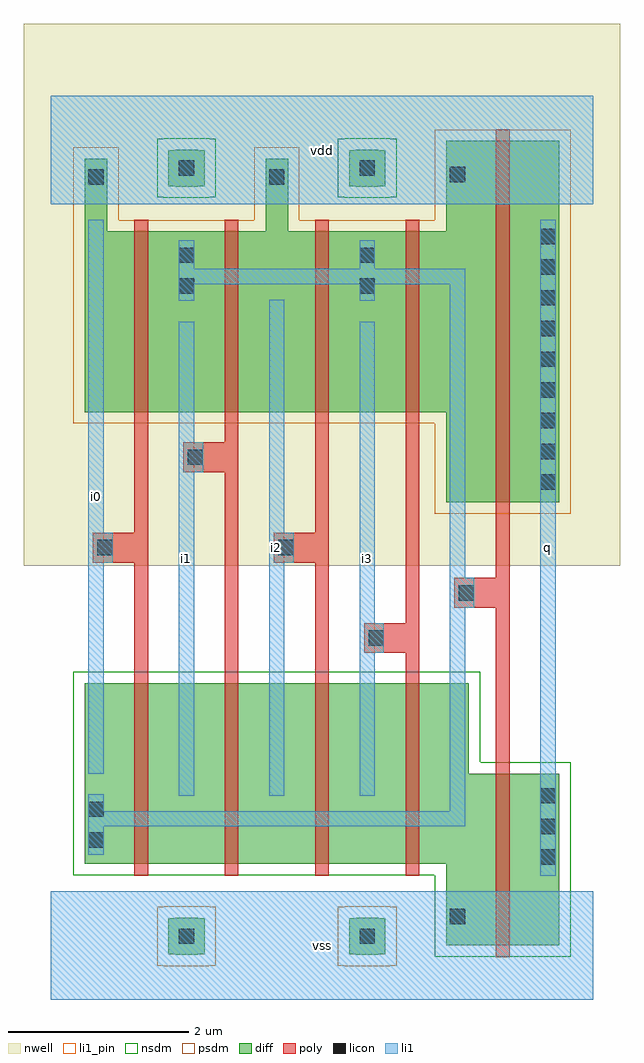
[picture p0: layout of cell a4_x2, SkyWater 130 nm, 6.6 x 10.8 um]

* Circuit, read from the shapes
.subckt a4_x2 i0 i1 i2 i3 q vdd vss
XM1 n1 i0 n2 VSUBS sky130_fd_pr__nfet_01v8 w=2 l=0.15
XM2 n3 i1 n1 VSUBS sky130_fd_pr__nfet_01v8 w=2 l=0.15
XM3 n4 i2 n3 VSUBS sky130_fd_pr__nfet_01v8 w=2 l=0.15
XM4 vss i3 n4 VSUBS sky130_fd_pr__nfet_01v8 w=2 l=0.15
XM5 q n2 vss VSUBS sky130_fd_pr__nfet_01v8 w=1.9 l=0.15
XM6 n2 i0 vdd n5 sky130_fd_pr__pfet_01v8 w=2 l=0.15
XM7 vdd i1 n2 n5 sky130_fd_pr__pfet_01v8 w=2 l=0.15
XM8 n2 i2 vdd n5 sky130_fd_pr__pfet_01v8 w=2 l=0.15
XM9 vdd i3 n2 n5 sky130_fd_pr__pfet_01v8 w=2 l=0.15
XM10 q n2 vdd n5 sky130_fd_pr__pfet_01v8 w=4 l=0.15
.ends

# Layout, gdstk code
import gdstk
lib = gdstk.Library(unit=1e-6, precision=1e-09)
def R(c, l, rs):  # rectangles x0, y0, x1, y1
    for r in rs: c.add(gdstk.rectangle(r[:2], r[2:], *l))
def A(c, l, x, y, w, h, nx, ny, dx, dy):  # array of equal rectangles
    R(c, l, [(x+i*dx, y+j*dy, x+i*dx+w, y+j*dy+h) for i in range(nx) for j in range(ny)])
def P(c, l, *ps):  # polygons
    for p in ps: c.add(gdstk.Polygon(p, *l))
nwell = (64, 20)
diff = (65, 20)
poly = (66, 20)
licon = (66, 44)
li1_pin = (67, 16)
li1 = (67, 20)
nsdm = (93, 44)
psdm = (94, 20)

a4_x2 = lib.new_cell('a4_x2')
R(a4_x2, nwell, [(-0.3,4.8,6.3,10.8)])
P(a4_x2, diff, [(1.375,0.495),(1.375,0.5),(1.3,0.5),(1.3,0.9),(1.375,0.9),(1.375,0.905),(1.625,0.905),(1.625,0.9),(1.7,0.9),(1.7,0.5),(1.625,0.5),(1.625,0.495)],
  [(3.375,0.495),(3.375,0.5),(3.3,0.5),(3.3,0.9),(3.375,0.9),(3.375,0.905),(3.625,0.905),(3.625,0.9),(3.7,0.9),(3.7,0.5),(3.625,0.5),(3.625,0.495)],
  [(4.375,0.6),(4.375,1.5),(0.375,1.5),(0.375,3.5),(4.625,3.5),(4.625,2.5),(5.625,2.5),(5.625,0.6)],
  [(1.375,8.995),(1.375,9),(1.3,9),(1.3,9.4),(1.375,9.4),(1.375,9.405),(1.625,9.405),(1.625,9.4),(1.7,9.4),(1.7,9),(1.625,9),(1.625,8.995)],
  [(3.375,8.995),(3.375,9),(3.3,9),(3.3,9.4),(3.375,9.4),(3.375,9.405),(3.625,9.405),(3.625,9.4),(3.7,9.4),(3.7,9),(3.625,9),(3.625,8.995)],
  [(4.375,5.5),(4.375,6.5),(0.375,6.5),(0.375,9.305),(0.625,9.305),(0.625,8.5),(2.375,8.5),(2.375,9.305),(2.625,9.305),(2.625,8.5),(4.375,8.5),(4.375,9.5),(5.625,9.5),(5.625,5.5)])
P(a4_x2, poly, [(0.925,1.37),(0.925,4.835),(0.465,4.835),(0.465,5.165),(0.925,5.165),(0.925,8.63),(1.075,8.63),(1.075,1.37)],
  [(1.925,1.37),(1.925,5.835),(1.465,5.835),(1.465,6.165),(1.925,6.165),(1.925,8.63),(2.075,8.63),(2.075,1.37)],
  [(2.925,1.37),(2.925,4.835),(2.465,4.835),(2.465,5.165),(2.925,5.165),(2.925,8.63),(3.075,8.63),(3.075,1.37)],
  [(3.925,1.37),(3.925,3.835),(3.465,3.835),(3.465,4.165),(3.925,4.165),(3.925,8.63),(4.075,8.63),(4.075,1.37)],
  [(4.925,0.47),(4.925,4.335),(4.465,4.335),(4.465,4.665),(4.925,4.665),(4.925,9.63),(5.075,9.63),(5.075,0.47)])
A(a4_x2, licon, 5.415, 1.49, 0.17, 0.17, 1, 3, 0, 0.34)
A(a4_x2, licon, 5.415, 5.64, 0.17, 0.17, 1, 9, 0, 0.34)
R(a4_x2, licon, [(1.415,0.615,1.585,0.785), (3.415,0.615,3.585,0.785), (4.415,0.835,4.585,1.005), (0.415,1.68,0.585,1.85), (0.415,2.02,0.585,2.19), (3.515,3.915,3.685,4.085), (4.515,4.415,4.685,4.585), (0.515,4.915,0.685,5.085), (2.515,4.915,2.685,5.085), (1.515,5.915,1.685,6.085), (1.415,7.81,1.585,7.98), (3.415,7.81,3.585,7.98), (1.415,8.15,1.585,8.32), (3.415,8.15,3.585,8.32), (0.415,9.015,0.585,9.185), (2.415,9.015,2.585,9.185), (4.415,9.045,4.585,9.215), (1.415,9.115,1.585,9.285), (3.415,9.115,3.585,9.285)])
R(a4_x2, li1_pin, [(0,0,6,1.2), (5.415,1.37,5.585,8.63), (1.415,2.255,1.585,7.5), (2.415,2.255,2.585,7.745), (3.415,2.255,3.585,7.5), (0.415,2.5,0.585,8.63), (0,8.8,6,10)])
R(a4_x2, li1, [(0,0,6,1.2), (5.415,1.37,5.585,8.63), (0,8.8,6,10)])
P(a4_x2, li1, [(1.415,2.255),(1.415,7.5),(1.585,7.5),(1.585,6.165),(1.685,6.165),(1.685,5.835),(1.585,5.835),(1.585,2.255)],
  [(3.415,2.255),(3.415,7.5),(3.585,7.5),(3.585,4.165),(3.685,4.165),(3.685,3.835),(3.585,3.835),(3.585,2.255)],
  [(2.415,2.255),(2.415,7.745),(2.585,7.745),(2.585,5.165),(2.685,5.165),(2.685,4.835),(2.585,4.835),(2.585,2.255)],
  [(0.415,1.6),(0.415,2.27),(0.585,2.27),(0.585,2.085),(4.415,2.085),(4.415,7.915),(3.585,7.915),(3.585,7.73),(3.415,7.73),(3.415,7.915),(1.585,7.915),(1.585,7.73),(1.415,7.73),(1.415,8.4),(1.585,8.4),(1.585,8.085),(3.415,8.085),(3.415,8.4),(3.585,8.4),(3.585,8.085),(4.585,8.085),(4.585,4.665),(4.685,4.665),(4.685,4.335),(4.585,4.335),(4.585,1.915),(0.585,1.915),(0.585,1.6)],
  [(0.415,2.5),(0.415,8.63),(0.585,8.63),(0.585,5.165),(0.685,5.165),(0.685,4.835),(0.585,4.835),(0.585,2.5)])
P(a4_x2, nsdm, [(4.25,0.475),(4.25,1.375),(0.25,1.375),(0.25,3.625),(4.75,3.625),(4.75,2.625),(5.75,2.625),(5.75,0.475)],
  [(1.25,8.87),(1.25,8.875),(1.175,8.875),(1.175,9.525),(1.25,9.525),(1.25,9.53),(1.75,9.53),(1.75,9.525),(1.825,9.525),(1.825,8.875),(1.75,8.875),(1.75,8.87)],
  [(3.25,8.87),(3.25,8.875),(3.175,8.875),(3.175,9.525),(3.25,9.525),(3.25,9.53),(3.75,9.53),(3.75,9.525),(3.825,9.525),(3.825,8.875),(3.75,8.875),(3.75,8.87)])
P(a4_x2, psdm, [(1.25,0.37),(1.25,0.375),(1.175,0.375),(1.175,1.025),(1.25,1.025),(1.25,1.03),(1.75,1.03),(1.75,1.025),(1.825,1.025),(1.825,0.375),(1.75,0.375),(1.75,0.37)],
  [(3.25,0.37),(3.25,0.375),(3.175,0.375),(3.175,1.025),(3.25,1.025),(3.25,1.03),(3.75,1.03),(3.75,1.025),(3.825,1.025),(3.825,0.375),(3.75,0.375),(3.75,0.37)],
  [(4.25,5.375),(4.25,6.375),(0.25,6.375),(0.25,9.43),(0.75,9.43),(0.75,8.625),(2.25,8.625),(2.25,9.43),(2.75,9.43),(2.75,8.625),(4.25,8.625),(4.25,9.625),(5.75,9.625),(5.75,5.375)])
a4_x2.add(gdstk.Label('vss', (3,0.6), layer=67, texttype=16))
a4_x2.add(gdstk.Label('q', (5.5,5), layer=67, texttype=16))
a4_x2.add(gdstk.Label('vdd', (3,9.4), layer=67, texttype=16))
a4_x2.add(gdstk.Label('i0', (0.5,5.565), layer=67, texttype=16))
a4_x2.add(gdstk.Label('i1', (1.5,4.877), layer=67, texttype=16))
a4_x2.add(gdstk.Label('i2', (2.5,5), layer=67, texttype=16))
a4_x2.add(gdstk.Label('i3', (3.5,4.877), layer=67, texttype=16))
a4_x2.add(gdstk.Label('vss', (3,0.6), layer=67, texttype=16))
a4_x2.add(gdstk.Label('q', (5.5,5), layer=67, texttype=16))
a4_x2.add(gdstk.Label('vdd', (3,9.4), layer=67, texttype=16))
a4_x2.add(gdstk.Label('i0', (0.5,5.565), layer=67, texttype=16))
a4_x2.add(gdstk.Label('i1', (1.5,4.877), layer=67, texttype=16))
a4_x2.add(gdstk.Label('i2', (2.5,5), layer=67, texttype=16))
a4_x2.add(gdstk.Label('i3', (3.5,4.877), layer=67, texttype=16))

lib.write_gds('a4_x2.gds')
